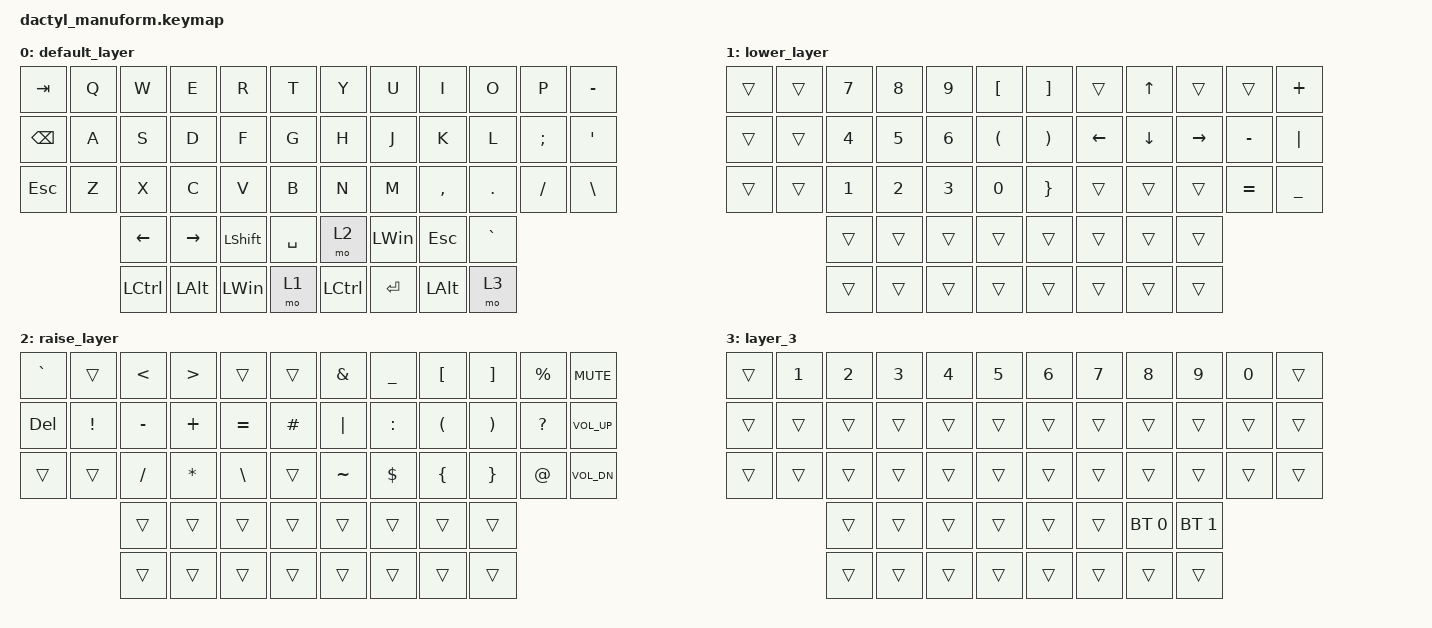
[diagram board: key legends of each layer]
/*
 * Copyright (c) 2020 The ZMK Contributors
 *
 * SPDX-License-Identifier: MIT
 */

#include <behaviors.dtsi>
#include <dt-bindings/zmk/bt.h>
#include <dt-bindings/zmk/keys.h>

/ {
    keymap {
        compatible = "zmk,keymap";

        default_layer {
            // Lily58-derived, number row dropped. 4 main rows + 2 thumb rows.
            //   Row 0:  Tab   Q  W  E  R  T   |   Y  U  I  O  P  -
            //   Row 1:  Bksp  A  S  D  F  G   |   H  J  K  L  ;  '
            //   Row 2:  LShft Z  X  C  V  B   |   N  M  ,  .  /  \
            //   Row 3 (near thumbs 4 per side):     trans LShft Space Mo1   |   LCtl Mo2 LWin trans
            //   Row 4 (deep thumbs 2x2 per side):   LWin  LAlt  trans trans |   LAlt Enter trans trans

            bindings = <
&kp TAB        &kp Q  &kp W           &kp E            &kp R      &kp T      &kp Y      &kp U      &kp I       &kp O      &kp P     &kp MINUS
&kp BACKSPACE  &kp A  &kp S           &kp D            &kp F      &kp G      &kp H      &kp J      &kp K       &kp L      &kp SEMI  &kp SINGLE_QUOTE
&kp ESCAPE     &kp Z  &kp X           &kp C            &kp V      &kp B      &kp N      &kp M      &kp COMMA   &kp DOT    &kp FSLH  &kp BACKSLASH
                      &kp LEFT_ARROW  &kp RIGHT_ARROW  &kp LSHFT  &kp SPACE  &mo 2      &kp LWIN   &kp ESCAPE  &kp GRAVE
                      &kp LCTRL       &kp LALT         &kp LWIN   &mo 1      &kp LCTRL  &kp ENTER  &kp LALT    &mo 3
            >;
        };

        lower_layer {
            // Lily58 lower, number row dropped.
            //   Row 0:  BT0  BT1   7  8  9  [   |   ]   trans  Up    trans trans  +
            //   Row 1:  BT2  BTCLR 4  5  6  (   |   )   Left   Down  Right -     |
            //   Row 2:  ___  ___   1  2  3  0   |   }   trans  trans trans =     _
            //   Row 3/4 (thumbs): all trans

            bindings = <
&trans  &trans  &kp N7  &kp N8  &kp N9  &kp LEFT_BRACKET      &kp RIGHT_BRACKET      &trans    &kp UP_ARROW  &trans     &trans     &kp PLUS
&trans  &trans  &kp N4  &kp N5  &kp N6  &kp LEFT_PARENTHESIS  &kp RIGHT_PARENTHESIS  &kp LEFT  &kp DOWN      &kp RIGHT  &kp MINUS  &kp PIPE
&trans  &trans  &kp N1  &kp N2  &kp N3  &kp N0                &kp RIGHT_BRACE        &trans    &trans        &trans     &kp EQUAL  &kp UNDER
                &trans  &trans  &trans  &trans                &trans                 &trans    &trans        &trans
                &trans  &trans  &trans  &trans                &trans                 &trans    &trans        &trans
            >;
        };

        raise_layer {
            // Lily58 raise, number row dropped.
            //   Row 0:  ___  ___    <    >    ___    ___    |   &    _      [     ]      %      Mute
            //   Row 1:  Del  !      -    +    =      #      |   |    :      (     )      ?      Vol+
            //   Row 2:  ___  ___    /    *    \      ___    |   ~    $      {     }      @      Vol-
            //   Row 3/4 (thumbs): all trans

            bindings = <
&kp GRAVE   &trans    &kp LESS_THAN  &kp GREATER_THAN  &trans         &trans    &kp AMPERSAND  &kp UNDERSCORE  &kp LEFT_BRACKET      &kp RIGHT_BRACKET      &kp PERCENT   &kp K_MUTE
&kp DELETE  &kp EXCL  &kp MINUS      &kp PLUS          &kp EQUAL      &kp HASH  &kp PIPE       &kp COLON       &kp LEFT_PARENTHESIS  &kp RIGHT_PARENTHESIS  &kp QUESTION  &kp C_VOLUME_UP
&trans      &trans    &kp SLASH      &kp ASTERISK      &kp BACKSLASH  &trans    &kp TILDE      &kp DOLLAR      &kp LEFT_BRACE        &kp RIGHT_BRACE        &kp AT_SIGN   &kp C_VOL_DN
                      &trans         &trans            &trans         &trans    &trans         &trans          &trans                &trans
                      &trans         &trans            &trans         &trans    &trans         &trans          &trans                &trans
            >;
        };

        layer_3 {
            bindings = <
&trans  &kp N1  &kp N2  &kp N3  &kp N4  &kp N5  &kp N6  &kp N7  &kp N8        &kp N9        &kp N0  &trans
&trans  &trans  &trans  &trans  &trans  &trans  &trans  &trans  &trans        &trans        &trans  &trans
&trans  &trans  &trans  &trans  &trans  &trans  &trans  &trans  &trans        &trans        &trans  &trans
                &trans  &trans  &trans  &trans  &trans  &trans  &bt BT_SEL 0  &bt BT_SEL 1
                &trans  &trans  &trans  &trans  &trans  &trans  &trans        &trans
            >;
        };
    };
};
